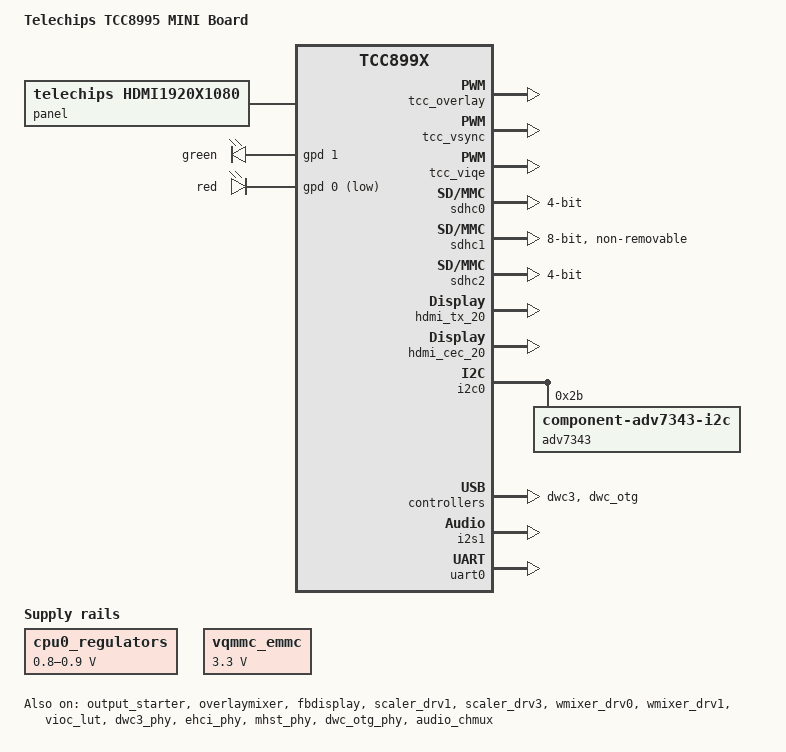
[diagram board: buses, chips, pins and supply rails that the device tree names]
// SPDX-License-Identifier: (GPL-2.0+ OR MIT)
/*
 * Device tree for Telechips TCC8990 STB board
 *
 * Copyright (C) 2018 Telechips Inc.
 */

#ifndef DT_OVERLAY
#include "tcc8990.dtsi"
#endif
#include "tcc899x-android.dtsi"

/ {
	model = "Telechips TCC8995 MINI Board";
	compatible = "telechips,tcc8995", "telechips,tcc899x";
};

&chosen {
};

&cpu0_regulators {
	compatible = "regulator-gpio";

	regulator-name = "vdd_cpu0";
	regulator-min-microvolt = <800000>;
	regulator-max-microvolt = <900000>;
	regulator-type = "voltage";
	regulator-always-on;

	gpios = <&gpd 16 0x4>;
	gpios-states = <0>;

	states = < 800000 0x0
		900000 0x1
		>;

	startup-delay-us = <100000>;
	enable-active-high;
};

&panel {
	status = "okay";
	compatible = "telechips,hdmi1920x1080";
};

&tcc_tve {
	status = "disabled";
};

&composite {
	status = "disabled";
};

&component {
	status = "disabled";
	io_port_num = <1>;	/* TCC899x: LCDC interface 1 (L1_XXX) */
};

&output_starter {
	status = "okay";
};

&overlaymixer {
	status ="okay";
	contiguousSize = <0x1000000>;  /* 16MB (if > 512MB RAM) refer to Guide 27 Page */
	baseAddress = <0x20000000>;
	physSize = <0x80000000>; /*  DRAM size (0x40000000 = 1GB, 0x80000000 = 2GB) */
};

&fbdisplay {
	telechips,fbdisplay_num = <0>;
	status ="okay";
};

&tcc_overlay {
	compatible = "telechips,tcc_overlay";
	status = "okay";
	fbdisplay-overlay = <&fbdisplay>;
};

&tcc_vsync {
	compatible = "telechips,tcc_vsync";
	display-vioc0 = <&vioc_disp VIOC_DISP0>;
	display-vioc1 = <&vioc_disp VIOC_DISP1>;
	status = "okay";
};

&tcc_viqe {
	compatible = "telechips,tcc_viqe";
	status ="okay";
	tcc_viqe_viqe_common {
		board_num=<1>;
	};
};

&scaler_drv1 {
	rdmas = <&vioc_rdma VIOC_RDMA16>;
	scalers = <&vioc_scaler VIOC_SCALER1 VIOC_SC_RDMA_16>;	/* id:1, path:17 */
	wmixs = <&vioc_wmix VIOC_WMIX5>;	/* id:5, path:6 */
	wdmas = <&vioc_wdma VIOC_WDMA06>;
	settop_support = <1>;
	status = "okay";
};

&scaler_drv3 {
	rdmas = <&vioc_rdma VIOC_RDMA07>;
	scalers = <&vioc_scaler VIOC_SCALER3 VIOC_SC_RDMA_07>;	/* id:3, path:7 */
	wmixs = <&vioc_wmix VIOC_WMIX1>;	/* id:1, path:3 */
	wdmas = <&vioc_wdma VIOC_WDMA01>;
	settop_support = <1>;
	status = "okay";
};

&wmixer_drv0 {
	status = "okay";
};

&wmixer_drv1 {
	status = "okay";
};
&vioc_lut {
	status = "okay";
};

/* TBD */
&sdhc0 {
	//status = "okay";
	controller-id = <0>;
	bus-width = <4>;
	max-frequency = <200000000>;
	pinctrl-names = "default", "active";
	pinctrl-0 = <&sd0_2_idle>;
	pinctrl-1 = <&sd0_2_clk &sd0_2_cmd &sd0_2_bus4>;
};

/* eMMC */
&vqmmc_emmc {
	compatible = "regulator-fixed";
	regulator-name = "vqmmc_emmc";
	regulator-min-microvolt = <3300000>;
	regulator-max-microvolt = <3300000>;
};

&sdhc1 {
	status = "okay";
	compatible = "telechips,tcc-sdhci";
	controller-id = <1>;
	pinctrl-names = "default";
	pinctrl-0 = <&sd1_1_clk &sd1_1_cmd &sd1_1_bus8>;

	bus-width = <8>;
	max-frequency = <200000000>;

	non-removable;
	keep-power-in-suspend;
	disable-wp;
	cap-mmc-hw-reset;
	mmc-ddr-1_8v;

	tcc-mmc-reset = <&gpa 6 0>;

	vqmmc-supply = <&vqmmc_emmc>;
};

#if 0   // 0 : force detect, 1 : not force detect
/* SDIO */
&sdhc2 {
	//status = "okay";
	controller-id = <2>;
	bus-width = <4>;
	max-frequency = <200000000>;
	pinctrl-names = "default", "active";
	pinctrl-0 = <&sd2_1_4_idle>;
	pinctrl-1 = <&sd2_1_clk &sd2_1_cmd &sd2_1_bus4>;
};
#else
&sdhc2 {
	status = "okay";
	controller-id = <2>;
	bus-width = <4>;
	max-frequency = <200000000>;
	pinctrl-names = "default";
	pinctrl-0 = <&sd2_1_clk &sd2_1_cmd &sd2_1_bus4>;
};
#endif

&hdmi_tx_20 {
	status = "okay";
	hdmi_ref_src_clock = <0>; // 0 XIN, 1 X-TAL, 2 PERI, 3, PMU XIN
	hdmi_phy_type = <1>; // 0 8990, 1 8995_OTT

	/* Source Product Description */
	product_description = "TCC8995_mini";
};

&hdmi_cec_20 {
	status = "okay";
};

/* I2C */

// Default set
&i2c0 {
	port-mux = <9>;
	status = "okay";
	pinctrl-names = "default";
	pinctrl-0 = <&i2c9_bus>;

	adv7343@20 {
		compatible = "component-adv7343-i2c";
		reg = <0x2b>;	/* ALSB=1, Write=0x56, Read=0x57 */
	};
};

/* USB 3.0 DRD */
&dwc3_phy {
	status = "okay";
	vbus-ctrl-able;
	vbus-gpio = <&gpd 19 0>;
};
&dwc3 {
	status = "okay";
	//usb3en-ctrl-able;
	//usb3en-gpio = <&gpc 22 0>;
	//vbus-source-ctrl;
	//vbus-ctrl-able;
	//vbus-gpio = <&gpd 19 0>;
	//pinctrl-names = "default";
	//vdd_dwc-supply = <&vdd_v5p0_reg>;
};

/* USB 2.0 HOST */
&ehci_phy {
	status = "okay";
	//vbus-ctrl-able;
	//vbus-gpio = <&gpd 15 0>;
};

&mhst_phy {
	status = "okay";
	//vbus-ctrl-able;
	//vbus-gpio = <&gpd 18 0>;
};

&dwc_otg_phy {
	status = "okay";
	//vbus-ctrl-able;
	//vbus-gpio = <&gpd 18 0>;
};

&ehci {
	status = "disable";
	hcd_id = <0>;
	phy-type = <1>;	    //pico phy = 1, nano phy = 0
	//hosten-ctrl-able;
	//hosten-gpio = <&gpe 15 0>;
	//vbus-ctrl-able;
	//vbus-gpio = <&gpd 15 0>;
	//vbus-source-ctrl;
	//pinctrl-names = "default";
	//vdd_ehci-supply = <&vdd_v5p0_reg>;

	//sq_level_ctl;
	TXVRT = <0xB>;
	TXRISET = <0x3>;
	TXAT = <0x1>;
};

&ohci {
	status = "disable";
	//hosten-ctrl-able;
	//hosten-gpio = <&gpe 15 0>;
	//vbus-ctrl-able;
	//vbus-gpio = <&gpd 15 0>;
	//vbus-source-ctrl;
	//vdd_ohci-supply = <&vdd_v5p0_reg>;
};

/* USB 2.0 OTG */
&dwc_otg {
	status = "okay";
	phy-type = <1>;     //pico phy = 1, nano phy = 0

	//vbus-ctrl-able;
	//vbus-gpio = <&gpd 18 0>;
};

&audio_chmux {
	compatible = "telechips,audio-chmux-899x";
	dai = <99 99>; // i2s0(x) i2s1(x)
	cdif = <99 99>; // cdif0(x) cdif1(x)
	spdif = <99 99>; // spdif0(x) spdif1(x)
	status = "okay";
};

&i2s1 {
	pinctrl-names = "default";
	status = "okay";
};

&adma1 {
	status = "okay";
};

&sound {
	compatible = "telechips,snd-card";
	card-name = "TCC8995 Mini Card";
	status = "okay";

	telechips,dai-link@0 {
		stream-name="I2S_1_HDMI";

		codec,format = "i2s"; // i2s, left_j, right_j
		codec,continuous-clock;

		mclk_div = <4>; // 4,6,8,16
		bclk_ratio = <64>; // 32,48,64fs
		pcm = <&adma1>;
		dai = <&i2s1>;
	};
};

/* Mini type Board not support Remocon controller */
/*
&remote {
	int-gpios = <&gpc 28 0>;
	pinctrl-names = "default";
	pinctrl-0 = <&remote_c28>;
	wakeupsrc = <011>; //RMISEL is 0x3 : GPIO_C28
	status = "okay";
};
*/

/* Mini type Board not support Ethernet */
/*
&gmac {
	status = "okay";
	phyrst-gpio = <&gpc 9 0>;
	phy-interface = "rgmii";
	ecid-mac-addr;
	txclk-o-dly = <0>;
	txclk-o-inv = <1>;
	txclk-i-dly = <0>;
	txclk-i-inv = <0>;
	txen-dly = <0>;
	txer-dly = <0>;
	txd0-dly = <0>;
	txd1-dly = <0>;
	txd2-dly = <0>;
	txd3-dly = <0>;
	txd4-dly = <0>;
	txd5-dly = <0>;
	txd6-dly = <0>;
	txd7-dly = <0>;
	rxclk-i-dly = <4>;
	rxclk-i-inv = <1>;
	rxdv-dly = <0>;
	rxer-dly = <0>;
	rxd0-dly = <0>;
	rxd1-dly = <0>;
	rxd2-dly = <0>;
	rxd3-dly = <0>;
	rxd4-dly = <0>;
	rxd5-dly = <0>;
	rxd6-dly = <0>;
	rxd7-dly = <0>;
	crs-dly = <0>;
	col-dly = <0>;
	pinctrl-names = "default", "mii", "rmii", "gmii", "rgmii";
	pinctrl-0 = <>;
	pinctrl-1 = <&gmac1_mdc &gmac1_mdio &gmac1_col &gmac1_crs &gmac1_txer &gmac1_rxer
		     &gmac1_txclk &gmac1_txen &gmac1_txd0 &gmac1_txd1 &gmac1_txd2 &gmac1_txd3
		     &gmac1_rxclk &gmac1_rxdv &gmac1_rxd0 &gmac1_rxd1 &gmac1_rxd2 &gmac1_rxd3>;
	pinctrl-2 = <&gmac1_mdc &gmac1_mdio
		     &gmac1_txclk &gmac1_txen &gmac1_txd0 &gmac1_txd1
		     &gmac1_rxer &gmac1_rxdv &gmac1_rxd0 &gmac1_rxd1>;
	pinctrl-3 = <&gmac1_mdc &gmac1_mdio &gmac1_col &gmac1_crs &gmac1_txer &gmac1_rxer
		     &gmac1_txclk &gmac1_txen &gmac1_txd0 &gmac1_txd1 &gmac1_txd2 &gmac1_txd3
		     &gmac1_txd4 &gmac1_txd5 &gmac1_txd6 &gmac1_txd7
		     &gmac1_rxclk &gmac1_rxdv &gmac1_rxd0 &gmac1_rxd1 &gmac1_rxd2 &gmac1_rxd3
		     &gmac1_rxd4 &gmac1_rxd5 &gmac1_rxd6 &gmac1_rxd7>;
	pinctrl-4 = <&gmac1_mdc &gmac1_mdio
		     &gmac1_txclk &gmac1_txen &gmac1_txd0 &gmac1_txd1 &gmac1_txd2 &gmac1_txd3
		     &gmac1_rxclk &gmac1_rxdv &gmac1_rxd0 &gmac1_rxd1 &gmac1_rxd2 &gmac1_rxd3>;
};
*/

&thermal {
	compatible = "telechips,tcc-thermal";
	reg = <0x14700000 0x4 0x14700030 0x4 0x14200290 0x4 0x1420029C 0x4>;
	clocks = <&clk_isoip_top ISOIP_TOP_TSEN>;
	status = "okay";

	throttle_count = <5>;
	throttle_active_count = <0>;
	throttle_passive_count = <5>;

	cal_type = "TYPE_ONE_POINT_TRIMMING";
	polling-delay-idle = <0>;
	polling-delay-passive = <0>;

	throttle_table {
		throttle_tab_0 {
			temp = <75>;
			freq_max_cluster0 = <1000000>;
			freq_max_cluster1 = <900000>;
		};
		throttle_tab_1 {
			temp = <80>;
			freq_max_cluster0 = <900000>;
			freq_max_cluster1 = <810000>;
		};
		throttle_tab_2 {
			temp = <85>;
			freq_max_cluster0 = <800000>;
			freq_max_cluster1 = <720000>;
		};
		throttle_tab_3 {
			temp = <90>;
			freq_max_cluster0 = <700000>;
			freq_max_cluster1 = <630000>;
		};
		throttle_tab_4 {
			temp = <95>;
			freq_max_cluster0 = <600000>;
			freq_max_cluster1 = <540000>;
		};
	};
};

&gpio_leds {
	compatible = "gpio-leds";
	green {
		gpios = <&gpd 1 0>;
		default-state = "on";
	};
	red {
		gpios = <&gpd 0 1>;
		default-state = "on";
	};
};

&uart0 {
	pinctrl-names = "default";
	pinctrl-0 = <&uart2_data>;
	status = "okay";
};
